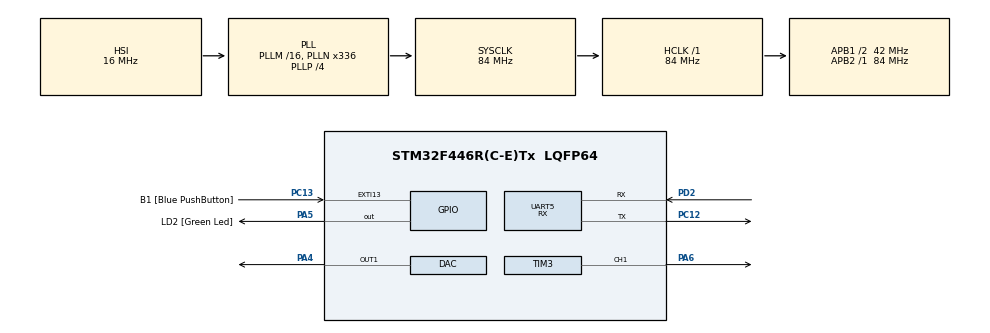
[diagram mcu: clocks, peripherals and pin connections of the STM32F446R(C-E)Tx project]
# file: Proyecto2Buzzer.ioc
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Mcu.Family=STM32F4
Mcu.Name=STM32F446R(C-E)Tx
Mcu.Package=LQFP64
NVIC.PriorityGroup=NVIC_PRIORITYGROUP_0
NVIC.TIM6_DAC_IRQn=true\:0\:0\:false\:false\:true\:true\:true\:true
NVIC.UART5_IRQn=true\:0\:0\:false\:false\:true\:true\:true\:true
PA13.GPIO_Label=TMS
PA13.Signal=SYS_JTMS-SWDIO
PA14.GPIO_Label=TCK
PA14.Signal=SYS_JTCK-SWCLK
PA2.GPIO_Label=USART_TX
PA2.Signal=USART2_TX
PA3.GPIO_Label=USART_RX
PA3.Signal=USART2_RX
PA4.Signal=COMP_DAC1_group
PA5.GPIO_Label=LD2 [Green Led]
PA5.Signal=GPIO_Output
PA6.Signal=S_TIM3_CH1
PB3.GPIO_Label=SWO
PB3.Signal=SYS_JTDO-SWO
PC12.Mode=Asynchronous
PC12.Signal=UART5_TX
PC13.GPIO_Label=B1 [Blue PushButton]
PC13.GPIO_ModeDefaultEXTI=GPIO_MODE_IT_FALLING
PC13.Signal=GPXTI13
PC14-OSC32_IN.Signal=RCC_OSC32_IN
PC15-OSC32_OUT.Signal=RCC_OSC32_OUT
PD2.Mode=Asynchronous
PD2.Signal=UART5_RX
PH0-OSC_IN.Signal=RCC_OSC_IN
PH1-OSC_OUT.Signal=RCC_OSC_OUT
ProjectManager.HeapSize=0x200
ProjectManager.StackSize=0x400
ProjectManager.TargetToolchain=STM32CubeIDE
RCC.AHBFreq_Value=84000000
RCC.APB1CLKDivider=RCC_HCLK_DIV2
RCC.APB1Freq_Value=42000000
RCC.APB1TimFreq_Value=84000000
RCC.APB2Freq_Value=84000000
RCC.APB2TimFreq_Value=84000000
RCC.CortexFreq_Value=84000000
RCC.FLatency-AdvancedSettings=FLASH_LATENCY_2
RCC.HCLKFreq_Value=84000000
RCC.HSE_VALUE=8000000
RCC.HSI_VALUE=16000000
RCC.LSE_VALUE=32768
RCC.PLLN=336
RCC.PLLP=RCC_PLLP_DIV4
RCC.SYSCLKFreq_VALUE=84000000
RCC.SYSCLKSource=RCC_SYSCLKSOURCE_PLLCLK
RCC.USBFreq_Value=168000000
RCC.VCOOutputFreq_Value=336000000
SH.COMP_DAC1_group.0=DAC_OUT1,DAC_OUT1
SH.S_TIM3_CH1.0=TIM3_CH1,PWM Generation1 CH1
TIM3.AutoReloadPreload=TIM_AUTORELOAD_PRELOAD_ENABLE
TIM3.Channel-PWM\ Generation1\ CH1=TIM_CHANNEL_1
TIM3.Period=999
TIM3.Prescaler=83
TIM6.AutoReloadPreload=TIM_AUTORELOAD_PRELOAD_ENABLE
TIM6.Period=3809
UART5.Mode=MODE_RX
UART5.VirtualMode=Asynchronous
VP_TIM3_VS_ClockSourceINT.Mode=Internal
VP_TIM6_VS_ClockSourceINT.Mode=Enable_Timer
board=NUCLEO-F446RE

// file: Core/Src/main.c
/* USER CODE BEGIN Header */
/**
  ******************************************************************************
  * @file           : main.c
  * @brief          : Main program body
  ******************************************************************************
  * @attention
  *
  * Copyright (c) 2026 STMicroelectronics.
  * All rights reserved.
  *
  * This software is licensed under terms that can be found in the LICENSE file
  * in the root directory of this software component.
  * If no LICENSE file comes with this software, it is provided AS-IS.
  *
  ******************************************************************************
  */
/* USER CODE END Header */
#include "main.h"

/* USER CODE BEGIN Includes */
#include "synth.h"
#include "audio_cmd.h"
/* USER CODE END Includes */

DAC_HandleTypeDef hdac;

TIM_HandleTypeDef htim3;
TIM_HandleTypeDef htim6;

UART_HandleTypeDef huart5;

void SystemClock_Config(void);
static void MX_GPIO_Init(void);
static void MX_DAC_Init(void);
static void MX_TIM6_Init(void);
static void MX_UART5_Init(void);
static void MX_TIM3_Init(void);

/* USER CODE BEGIN 0 */
/* Comandos que llegan de la Nucleo del juego por UART5 (PD2): buffer circular */
#define RX_SIZE 64
static volatile uint8_t rx_buf[RX_SIZE];
static volatile uint8_t rx_head = 0, rx_tail = 0;
static uint8_t rx_byte;

void HAL_UART_RxCpltCallback(UART_HandleTypeDef *huart)
{
  if (huart->Instance == UART5) {
    uint8_t next = (rx_head + 1) % RX_SIZE;
    if (next != rx_tail) { rx_buf[rx_head] = rx_byte; rx_head = next; }
    HAL_UART_Receive_IT(huart, &rx_byte, 1);
  }
}

void HAL_UART_ErrorCallback(UART_HandleTypeDef *huart)
{
  if (huart->Instance == UART5) {               /* ruido al conectar cables: se rearma */
    __HAL_UART_CLEAR_OREFLAG(huart);
    HAL_UART_Receive_IT(huart, &rx_byte, 1);
  }
}

/* TIM6: una muestra de audio por interrupcion (SYNTH_FS veces por segundo) */
void HAL_TIM_PeriodElapsedCallback(TIM_HandleTypeDef *htim)
{
  if (htim->Instance == TIM6) synth_sample_isr();
}
/* USER CODE END 0 */

int main(void)
{

  /* MCU Configuration--------------------------------------------------------*/

  /* Reset of all peripherals, Initializes the Flash interface and the Systick. */
  HAL_Init();

  /* Configure the system clock */
  SystemClock_Config();

  /* Initialize all configured peripherals */
  MX_GPIO_Init();
  MX_DAC_Init();
  MX_TIM6_Init();
  MX_UART5_Init();
  MX_TIM3_Init();
  /* USER CODE BEGIN 2 */
  synth_init();                                  // DAC en PA4 + TIM6 a 22 kHz
  HAL_UART_Receive_IT(&huart5, &rx_byte, 1);     // escucha a la Nucleo del juego

  /* Prueba al encender: un "bip-bip" para saber que el audio funciona */
  synth_command(CMD_SFX_BASE + SFX_OK);
  uint32_t led_off = 0;
  /* USER CODE END 2 */

  /* Infinite loop */
  while (1)
  {

    /* USER CODE BEGIN 3 */
    while (rx_tail != rx_head) {                  // comandos recibidos
      uint8_t c = rx_buf[rx_tail];
      rx_tail = (rx_tail + 1) % RX_SIZE;
      synth_command(c);
      HAL_GPIO_WritePin(LD2_GPIO_Port, LD2_Pin, GPIO_PIN_SET);   // LED: llego un comando
      led_off = HAL_GetTick() + 30;
    }
    if (led_off && (int32_t)(HAL_GetTick() - led_off) >= 0) {
      HAL_GPIO_WritePin(LD2_GPIO_Port, LD2_Pin, GPIO_PIN_RESET);
      led_off = 0;
    }

    /* B1 de esta Nucleo: prueba sin la otra placa (cambia de musica) */
    static uint8_t b1_prev = 1, test_mus = MUS_NONE;
    uint8_t b1 = (HAL_GPIO_ReadPin(B1_GPIO_Port, B1_Pin) == GPIO_PIN_SET);
    if (!b1 && b1_prev) {
      test_mus = (test_mus + 1) % MUS_COUNT;
      synth_command(CMD_MUS_BASE + test_mus);
    }
    b1_prev = b1;

    synth_update();                               // avanza notas (cada 1 ms)
  }
  /* USER CODE END 3 */
}

void SystemClock_Config(void)
{
  RCC_OscInitTypeDef RCC_OscInitStruct = {0};
  RCC_ClkInitTypeDef RCC_ClkInitStruct = {0};

  /** Configure the main internal regulator output voltage
  */
  __HAL_RCC_PWR_CLK_ENABLE();
  __HAL_PWR_VOLTAGESCALING_CONFIG(PWR_REGULATOR_VOLTAGE_SCALE3);

  /** Initializes the RCC Oscillators according to the specified parameters
  * in the RCC_OscInitTypeDef structure.
  */
  RCC_OscInitStruct.OscillatorType = RCC_OSCILLATORTYPE_HSI;
  RCC_OscInitStruct.HSIState = RCC_HSI_ON;
  RCC_OscInitStruct.HSICalibrationValue = RCC_HSICALIBRATION_DEFAULT;
  RCC_OscInitStruct.PLL.PLLState = RCC_PLL_ON;
  RCC_OscInitStruct.PLL.PLLSource = RCC_PLLSOURCE_HSI;
  RCC_OscInitStruct.PLL.PLLM = 16;
  RCC_OscInitStruct.PLL.PLLN = 336;
  RCC_OscInitStruct.PLL.PLLP = RCC_PLLP_DIV4;
  RCC_OscInitStruct.PLL.PLLQ = 2;
  RCC_OscInitStruct.PLL.PLLR = 2;
  if (HAL_RCC_OscConfig(&RCC_OscInitStruct) != HAL_OK)
  {
    Error_Handler();
  }

  /** Initializes the CPU, AHB and APB buses clocks
  */
  RCC_ClkInitStruct.ClockType = RCC_CLOCKTYPE_HCLK|RCC_CLOCKTYPE_SYSCLK
                              |RCC_CLOCKTYPE_PCLK1|RCC_CLOCKTYPE_PCLK2;
  RCC_ClkInitStruct.SYSCLKSource = RCC_SYSCLKSOURCE_PLLCLK;
  RCC_ClkInitStruct.AHBCLKDivider = RCC_SYSCLK_DIV1;
  RCC_ClkInitStruct.APB1CLKDivider = RCC_HCLK_DIV2;
  RCC_ClkInitStruct.APB2CLKDivider = RCC_HCLK_DIV1;

  if (HAL_RCC_ClockConfig(&RCC_ClkInitStruct, FLASH_LATENCY_2) != HAL_OK)
  {
    Error_Handler();
  }
}

static void MX_DAC_Init(void)
{

  DAC_ChannelConfTypeDef sConfig = {0};

  /** DAC Initialization
  */
  hdac.Instance = DAC;
  if (HAL_DAC_Init(&hdac) != HAL_OK)
  {
    Error_Handler();
  }

  /** DAC channel OUT1 config
  */
  sConfig.DAC_Trigger = DAC_TRIGGER_NONE;
  sConfig.DAC_OutputBuffer = DAC_OUTPUTBUFFER_ENABLE;
  if (HAL_DAC_ConfigChannel(&hdac, &sConfig, DAC_CHANNEL_1) != HAL_OK)
  {
    Error_Handler();
  }

}

static void MX_TIM3_Init(void)
{

  TIM_ClockConfigTypeDef sClockSourceConfig = {0};
  TIM_MasterConfigTypeDef sMasterConfig = {0};
  TIM_OC_InitTypeDef sConfigOC = {0};

  htim3.Instance = TIM3;
  htim3.Init.Prescaler = 83;
  htim3.Init.CounterMode = TIM_COUNTERMODE_UP;
  htim3.Init.Period = 999;
  htim3.Init.ClockDivision = TIM_CLOCKDIVISION_DIV1;
  htim3.Init.AutoReloadPreload = TIM_AUTORELOAD_PRELOAD_ENABLE;
  if (HAL_TIM_Base_Init(&htim3) != HAL_OK)
  {
    Error_Handler();
  }
  sClockSourceConfig.ClockSource = TIM_CLOCKSOURCE_INTERNAL;
  if (HAL_TIM_ConfigClockSource(&htim3, &sClockSourceConfig) != HAL_OK)
  {
    Error_Handler();
  }
  if (HAL_TIM_PWM_Init(&htim3) != HAL_OK)
  {
    Error_Handler();
  }
  sMasterConfig.MasterOutputTrigger = TIM_TRGO_RESET;
  sMasterConfig.MasterSlaveMode = TIM_MASTERSLAVEMODE_DISABLE;
  if (HAL_TIMEx_MasterConfigSynchronization(&htim3, &sMasterConfig) != HAL_OK)
  {
    Error_Handler();
  }
  sConfigOC.OCMode = TIM_OCMODE_PWM1;
  sConfigOC.Pulse = 0;
  sConfigOC.OCPolarity = TIM_OCPOLARITY_HIGH;
  sConfigOC.OCFastMode = TIM_OCFAST_DISABLE;
  if (HAL_TIM_PWM_ConfigChannel(&htim3, &sConfigOC, TIM_CHANNEL_1) != HAL_OK)
  {
    Error_Handler();
  }
  HAL_TIM_MspPostInit(&htim3);

}

static void MX_TIM6_Init(void)
{

  TIM_MasterConfigTypeDef sMasterConfig = {0};

  htim6.Instance = TIM6;
  htim6.Init.Prescaler = 0;
  htim6.Init.CounterMode = TIM_COUNTERMODE_UP;
  htim6.Init.Period = 3809;
  htim6.Init.AutoReloadPreload = TIM_AUTORELOAD_PRELOAD_ENABLE;
  if (HAL_TIM_Base_Init(&htim6) != HAL_OK)
  {
    Error_Handler();
  }
  sMasterConfig.MasterOutputTrigger = TIM_TRGO_RESET;
  sMasterConfig.MasterSlaveMode = TIM_MASTERSLAVEMODE_DISABLE;
  if (HAL_TIMEx_MasterConfigSynchronization(&htim6, &sMasterConfig) != HAL_OK)
  {
    Error_Handler();
  }

}

static void MX_UART5_Init(void)
{

  huart5.Instance = UART5;
  huart5.Init.BaudRate = 115200;
  huart5.Init.WordLength = UART_WORDLENGTH_8B;
  huart5.Init.StopBits = UART_STOPBITS_1;
  huart5.Init.Parity = UART_PARITY_NONE;
  huart5.Init.Mode = UART_MODE_RX;
  huart5.Init.HwFlowCtl = UART_HWCONTROL_NONE;
  huart5.Init.OverSampling = UART_OVERSAMPLING_16;
  if (HAL_UART_Init(&huart5) != HAL_OK)
  {
    Error_Handler();
  }

}

static void MX_GPIO_Init(void)
{
  GPIO_InitTypeDef GPIO_InitStruct = {0};

  /* GPIO Ports Clock Enable */
  __HAL_RCC_GPIOC_CLK_ENABLE();
  __HAL_RCC_GPIOH_CLK_ENABLE();
  __HAL_RCC_GPIOA_CLK_ENABLE();
  __HAL_RCC_GPIOD_CLK_ENABLE();
  __HAL_RCC_GPIOB_CLK_ENABLE();

  /*Configure GPIO pin Output Level */
  HAL_GPIO_WritePin(LD2_GPIO_Port, LD2_Pin, GPIO_PIN_RESET);

  /*Configure GPIO pin : B1_Pin */
  GPIO_InitStruct.Pin = B1_Pin;
  GPIO_InitStruct.Mode = GPIO_MODE_IT_FALLING;
  GPIO_InitStruct.Pull = GPIO_NOPULL;
  HAL_GPIO_Init(B1_GPIO_Port, &GPIO_InitStruct);

  /*Configure GPIO pins : USART_TX_Pin USART_RX_Pin */
  GPIO_InitStruct.Pin = USART_TX_Pin|USART_RX_Pin;
  GPIO_InitStruct.Mode = GPIO_MODE_AF_PP;
  GPIO_InitStruct.Pull = GPIO_NOPULL;
  GPIO_InitStruct.Speed = GPIO_SPEED_FREQ_VERY_HIGH;
  GPIO_InitStruct.Alternate = GPIO_AF7_USART2;
  HAL_GPIO_Init(GPIOA, &GPIO_InitStruct);

  /*Configure GPIO pin : LD2_Pin */
  GPIO_InitStruct.Pin = LD2_Pin;
  GPIO_InitStruct.Mode = GPIO_MODE_OUTPUT_PP;
  GPIO_InitStruct.Pull = GPIO_NOPULL;
  GPIO_InitStruct.Speed = GPIO_SPEED_FREQ_LOW;
  HAL_GPIO_Init(LD2_GPIO_Port, &GPIO_InitStruct);

}

void Error_Handler(void)
{
  __disable_irq();
  while (1)
  {
  }
}
